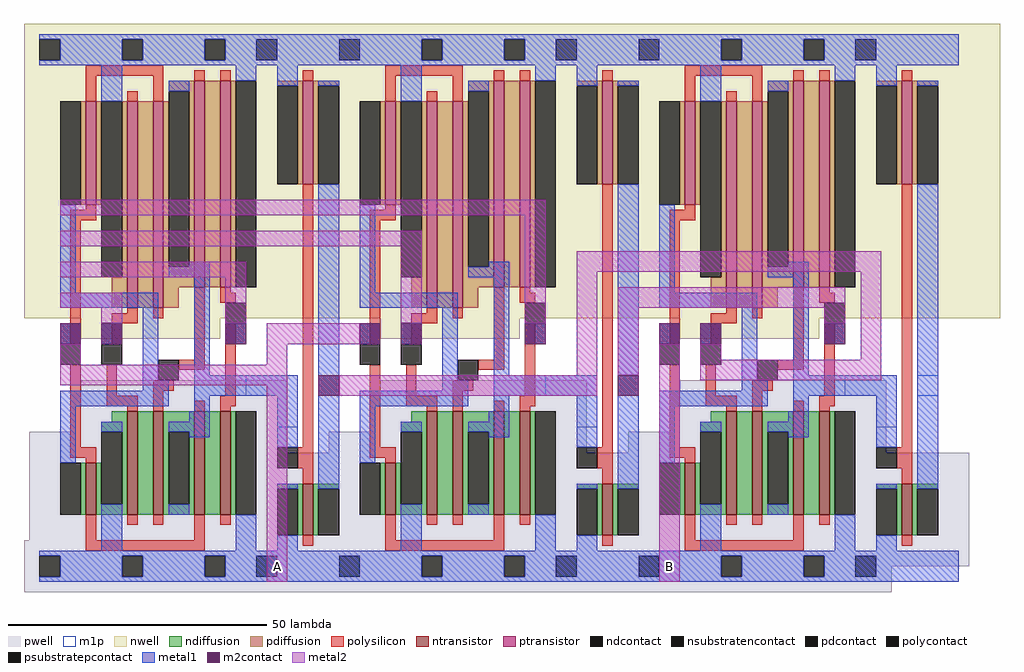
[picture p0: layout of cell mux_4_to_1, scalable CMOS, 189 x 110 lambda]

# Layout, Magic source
magic
tech scmos
<< pwell >>
rect 52 -2 58 3
rect 110 -2 116 3
<< m2contact >>
rect 7 46 11 50
rect 15 46 19 50
rect 39 46 43 50
rect 65 46 69 50
rect 73 46 77 50
rect 97 46 101 50
rect 123 46 127 50
rect 131 46 135 50
rect 155 46 159 50
rect 57 36 61 40
rect 115 36 119 40
<< metal2 >>
rect 7 71 101 74
rect 7 65 77 68
rect 7 59 43 62
rect 7 53 19 56
rect 15 50 19 53
rect 39 50 43 59
rect 73 50 77 65
rect 47 46 65 50
rect 97 50 101 71
rect 107 60 166 64
rect 7 42 11 46
rect 47 42 51 46
rect 7 38 51 42
rect 107 40 111 60
rect 47 0 51 38
rect 61 36 111 40
rect 115 53 159 57
rect 115 40 119 53
rect 155 50 159 53
rect 123 0 127 46
rect 131 43 135 46
rect 162 43 166 60
rect 131 39 166 43
use mux  mux_0(0)
transform 1 0 2 0 1 0
box -2 -2 71 108
use mux  mux_0(1)
transform 1 0 60 0 1 0
box -2 -2 71 108
use mux  mux_0(2)
transform 1 0 118 0 1 0
box -2 -2 71 108
<< labels >>
rlabel metal2 49 3 49 3 6 A
rlabel metal2 125 3 125 3 6 B
<< end >>

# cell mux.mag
magic
tech scmos
<< metal1 >>
rect 37 36 51 40
rect 47 26 51 36
use MUX2X1  MUX2X1_0
transform 1 0 3 0 1 3
box -5 -5 53 105
use INVX1  INVX1_0
transform 1 0 45 0 1 3
box -9 -5 26 105
<< end >>

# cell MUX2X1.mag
magic
tech scmos
<< nwell >>
rect -5 48 53 105
rect 6 44 33 48
<< pwell >>
rect 6 34 46 36
rect 4 26 46 34
rect -4 5 46 26
rect -5 4 46 5
rect -5 -5 37 4
<< ntransistor >>
rect 7 10 9 20
rect 15 10 17 30
rect 20 10 22 30
rect 28 10 30 30
rect 33 10 35 30
<< ptransistor >>
rect 7 70 9 90
rect 15 50 17 90
rect 20 50 22 90
rect 28 54 30 94
rect 33 54 35 94
<< ndiffusion >>
rect 12 28 15 30
rect 10 26 15 28
rect 6 10 7 20
rect 9 12 10 20
rect 14 12 15 26
rect 9 10 15 12
rect 17 10 20 30
rect 22 26 28 30
rect 22 12 23 26
rect 27 12 28 26
rect 22 10 28 12
rect 30 10 33 30
rect 35 10 36 30
<< pdiffusion >>
rect 23 92 28 94
rect 6 70 7 90
rect 9 70 10 90
rect 14 56 15 90
rect 12 50 15 56
rect 17 50 20 90
rect 22 58 23 90
rect 27 58 28 92
rect 22 54 28 58
rect 30 54 33 94
rect 35 54 36 94
rect 22 50 25 54
<< ndcontact >>
rect 2 10 6 20
rect 10 12 14 26
rect 23 12 27 26
rect 36 10 40 30
<< pdcontact >>
rect 2 70 6 90
rect 10 56 14 90
rect 23 58 27 92
rect 36 54 40 94
<< psubstratepcontact >>
rect -2 -2 2 2
rect 14 -2 18 2
rect 30 -2 34 2
<< nsubstratencontact >>
rect -2 98 2 102
rect 14 98 18 102
rect 30 98 34 102
<< polysilicon >>
rect 7 95 22 97
rect 7 90 9 95
rect 15 90 17 92
rect 20 90 22 95
rect 28 94 30 96
rect 33 94 35 96
rect 7 69 9 70
rect 4 67 9 69
rect 4 43 6 67
rect 15 49 17 50
rect 12 47 17 49
rect 20 48 22 50
rect 12 43 14 47
rect 28 40 30 54
rect 33 53 35 54
rect 33 51 36 53
rect 4 23 6 39
rect 11 33 13 39
rect 25 38 30 40
rect 20 34 24 36
rect 11 31 17 33
rect 15 30 17 31
rect 20 30 22 34
rect 34 33 36 47
rect 28 30 30 32
rect 33 31 36 33
rect 33 30 35 31
rect 4 21 9 23
rect 7 20 9 21
rect 7 5 9 10
rect 15 8 17 10
rect 20 8 22 10
rect 28 5 30 10
rect 33 8 35 10
rect 7 3 30 5
<< polycontact >>
rect 2 39 6 43
rect 10 39 14 43
rect 21 36 25 40
rect 34 47 38 51
<< metal1 >>
rect -2 102 50 103
rect 2 98 14 102
rect 18 98 30 102
rect 34 98 50 102
rect -2 97 50 98
rect 10 90 14 97
rect 36 94 40 97
rect 2 53 5 70
rect 23 92 27 94
rect 27 58 31 59
rect 23 56 31 58
rect 2 50 21 53
rect 2 43 6 47
rect 10 43 14 47
rect 18 36 21 50
rect 28 37 31 56
rect 34 43 38 47
rect 18 34 23 36
rect 2 31 23 34
rect 28 33 38 37
rect 2 20 5 31
rect 28 30 31 33
rect 27 28 31 30
rect 10 26 14 28
rect 10 3 14 12
rect 23 26 31 28
rect 27 25 31 26
rect 23 10 27 12
rect 36 3 40 10
rect -2 2 50 3
rect 2 -2 14 2
rect 18 -2 30 2
rect 34 -2 50 2
rect -2 -3 50 -2
<< m1p >>
rect 2 43 6 47
rect 10 43 14 47
rect 34 43 38 47
rect 34 33 38 37
<< labels >>
rlabel metal1 4 45 4 45 6 S
rlabel metal1 4 100 4 100 6 vdd
rlabel metal1 4 0 4 0 8 gnd
rlabel metal1 36 35 36 35 6 Y
rlabel metal1 36 45 36 45 6 A
rlabel metal1 12 45 12 45 6 B
<< end >>

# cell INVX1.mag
magic
tech scmos
<< nwell >>
rect -9 48 26 105
<< pwell >>
rect -4 5 20 22
rect -5 0 20 5
rect -5 -5 5 0
<< ntransistor >>
rect 7 6 9 16
<< ptransistor >>
rect 7 74 9 94
<< ndiffusion >>
rect 2 15 7 16
rect 6 6 7 15
rect 9 15 14 16
rect 9 6 10 15
<< pdiffusion >>
rect 2 93 7 94
rect 6 74 7 93
rect 9 93 14 94
rect 9 74 10 93
<< ndcontact >>
rect 2 6 6 15
rect 10 6 14 15
<< pdcontact >>
rect 2 74 6 93
rect 10 74 14 93
<< psubstratepcontact >>
rect -2 -2 2 2
<< nsubstratencontact >>
rect -2 98 2 102
<< polysilicon >>
rect 7 94 9 96
rect 7 23 9 74
rect 6 19 9 23
rect 7 16 9 19
rect 7 4 9 6
<< polycontact >>
rect 2 19 6 23
<< metal1 >>
rect -2 102 18 103
rect 2 98 18 102
rect -2 97 18 98
rect 2 93 6 97
rect 10 93 14 94
rect 2 23 6 27
rect 2 15 6 16
rect 10 15 14 74
rect 2 3 6 6
rect -2 2 18 3
rect 2 -2 18 2
rect -2 -3 18 -2
<< m1p >>
rect 10 33 14 37
rect 2 23 6 27
<< labels >>
rlabel metal1 4 25 4 25 6 A
rlabel metal1 12 35 12 35 6 Y
rlabel metal1 4 100 4 100 6 vdd
rlabel metal1 4 0 4 0 8 gnd
<< end >>
